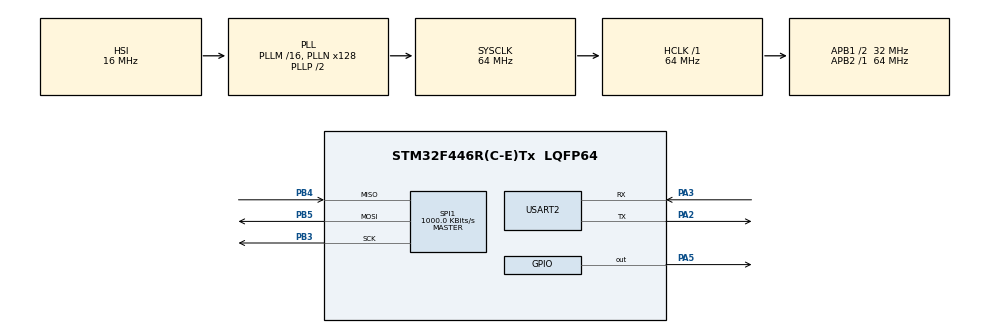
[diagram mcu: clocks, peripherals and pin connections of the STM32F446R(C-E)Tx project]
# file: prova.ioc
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Mcu.Family=STM32F4
Mcu.Name=STM32F446R(C-E)Tx
Mcu.Package=LQFP64
NVIC.PriorityGroup=NVIC_PRIORITYGROUP_4
PA2.Mode=Asynchronous
PA2.Signal=USART2_TX
PA3.Mode=Asynchronous
PA3.Signal=USART2_RX
PA5.Signal=GPIO_Output
PB3.Mode=Full_Duplex_Master
PB3.Signal=SPI1_SCK
PB4.Mode=Full_Duplex_Master
PB4.Signal=SPI1_MISO
PB5.Mode=Full_Duplex_Master
PB5.Signal=SPI1_MOSI
ProjectManager.HeapSize=0x200
ProjectManager.StackSize=0x400
ProjectManager.TargetToolchain=SW4STM32
RCC.AHBFreq_Value=64000000
RCC.APB1CLKDivider=RCC_HCLK_DIV2
RCC.APB1Freq_Value=32000000
RCC.APB1TimFreq_Value=64000000
RCC.APB2Freq_Value=64000000
RCC.APB2TimFreq_Value=64000000
RCC.CortexFreq_Value=64000000
RCC.HCLKFreq_Value=64000000
RCC.PLLN=128
RCC.SYSCLKFreq_VALUE=64000000
RCC.SYSCLKSource=RCC_SYSCLKSOURCE_PLLCLK
RCC.USBFreq_Value=64000000
RCC.VCOOutputFreq_Value=128000000
SPI1.BaudRatePrescaler=SPI_BAUDRATEPRESCALER_64
SPI1.CalculateBaudRate=1000.0 KBits/s
SPI1.Direction=SPI_DIRECTION_2LINES
SPI1.Mode=SPI_MODE_MASTER
SPI1.VirtualType=VM_MASTER
USART2.VirtualMode=VM_ASYNC
board=custom

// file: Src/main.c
/**
  ******************************************************************************
  * @file           : main.c
  * @brief          : Main program body
  ******************************************************************************
  ** This notice applies to any and all portions of this file
  * that are not between comment pairs USER CODE BEGIN and
  * USER CODE END. Other portions of this file, whether
  * inserted by the user or by software development tools
  * are owned by their respective copyright owners.
  *
  * COPYRIGHT(c) 2018 STMicroelectronics
  *
  * Redistribution and use in source and binary forms, with or without modification,
  * are permitted provided that the following conditions are met:
  *   1. Redistributions of source code must retain the above copyright notice,
  *      this list of conditions and the following disclaimer.
  *   2. Redistributions in binary form must reproduce the above copyright notice,
  *      this list of conditions and the following disclaimer in the documentation
  *      and/or other materials provided with the distribution.
  *   3. Neither the name of STMicroelectronics nor the names of its contributors
  *      may be used to endorse or promote products derived from this software
  *      without specific prior written permission.
  *
  * THIS SOFTWARE IS PROVIDED BY THE COPYRIGHT HOLDERS AND CONTRIBUTORS "AS IS"
  * AND ANY EXPRESS OR IMPLIED WARRANTIES, INCLUDING, BUT NOT LIMITED TO, THE
  * IMPLIED WARRANTIES OF MERCHANTABILITY AND FITNESS FOR A PARTICULAR PURPOSE ARE
  * DISCLAIMED. IN NO EVENT SHALL THE COPYRIGHT HOLDER OR CONTRIBUTORS BE LIABLE
  * FOR ANY DIRECT, INDIRECT, INCIDENTAL, SPECIAL, EXEMPLARY, OR CONSEQUENTIAL
  * DAMAGES (INCLUDING, BUT NOT LIMITED TO, PROCUREMENT OF SUBSTITUTE GOODS OR
  * SERVICES; LOSS OF USE, DATA, OR PROFITS; OR BUSINESS INTERRUPTION) HOWEVER
  * CAUSED AND ON ANY THEORY OF LIABILITY, WHETHER IN CONTRACT, STRICT LIABILITY,
  * OR TORT (INCLUDING NEGLIGENCE OR OTHERWISE) ARISING IN ANY WAY OUT OF THE USE
  * OF THIS SOFTWARE, EVEN IF ADVISED OF THE POSSIBILITY OF SUCH DAMAGE.
  *
  ******************************************************************************
  */
#include "main.h"
#include "stm32f4xx_hal.h"

/* USER CODE BEGIN Includes */
#include "ltc68xx.h"
#include "string.h"
/* USER CODE END Includes */

SPI_HandleTypeDef hspi1;

UART_HandleTypeDef huart2;

/* USER CODE BEGIN PV */
/* Private variables ---------------------------------------------------------*/
uint16_t cell_voltages[108][2];
uint16_t cell_temperatures[108][2];
uint16_t aux_codes[5];
uint8_t TOT_IC=12;
/* USER CODE END PV */

void SystemClock_Config(void);
static void MX_GPIO_Init(void);
static void MX_SPI1_Init(void);
static void MX_USART2_UART_Init(void);

/* USER CODE BEGIN PFP */
/* Private function prototypes -----------------------------------------------*/

/* USER CODE END PFP */

/* USER CODE BEGIN 0 */
void print(char * text_print_function);
/* USER CODE END 0 */

int main(void)
{

  /* MCU Configuration----------------------------------------------------------*/

  /* Reset of all peripherals, Initializes the Flash interface and the Systick. */
  HAL_Init();

  /* Configure the system clock */
  SystemClock_Config();

  /* Initialize all configured peripherals */
  MX_GPIO_Init();
  MX_SPI1_Init();
  MX_USART2_UART_Init();
  /* USER CODE BEGIN 2 */
 char arr[3];
 uint16_t voltages[9];
  /* USER CODE END 2 */

  /* Infinite loop */
  /* USER CODE BEGIN WHILE */
  while (1)
  {
	 // print("ciao");

	  //Voltages
	   ltc6804_adcv(0, &hspi1);
	   HAL_Delay(10);

	   for(uint8_t current_ic = 0; current_ic < TOT_IC; current_ic++){
	  	  ltc6804_rdcv_voltages(current_ic, cell_voltages, &hspi1);

	 char num[2];
	 	 		 	 	sprintf(num, "\r\n");
	 	 		 	 	HAL_UART_Transmit(&huart2, &num, strlen(num), 100);
	 	 		 	 	 for(int i = 0; i < 9; i++){
	 	 		 	 		 char v[32];
	 	 		 	 		 sprintf(v, "%d - ",cell_voltages[i][0]);
	 	 		 	 		 HAL_UART_Transmit(&huart2, &v, strlen(v), 100);
	 	 		 	 		HAL_Delay(1000);
	 	 		 	 		 cell_voltages[i][0] = cell_voltages[i][0]*0.0001f;

//	   for(int i=0;i<108;i++){
//		 sprintf(arr,"%d",cell_voltages[i][0]);
//		 print(arr);
//	   }
  }

	   HAL_Delay(10);

	   for(uint8_t current_ic = 0; current_ic < TOT_IC; current_ic++)
	 	  ltc6804_rdcv_temp(current_ic, 1, cell_temperatures, &hspi1);
	   ltc6804_command_temperatures(0, 0, &hspi1);

//	   //Cells 90 and 91 not working
//	   cell_voltages[90][0] = (cell_voltages[89][0] + cell_voltages[88][0]) / 2;
//	   cell_voltages[91][0] = (cell_voltages[92][0] + cell_voltages[93][0]) / 2;
//	   cell_voltages[90][1] = 0;
//	   cell_voltages[91][1] = 0;
//	   cell_temperatures[90][0] = (cell_temperatures[89][0] + cell_temperatures[88][0]) / 2;
//	   cell_temperatures[91][0] = (cell_temperatures[92][0] + cell_temperatures[93][0]) / 2;
//	   cell_temperatures[90][1] = 0;
//	   cell_temperatures[91][1] = 0;
//
//	   ltc6804_adax(&hspi1);
//	   HAL_Delay(10);
//	   ltc6804_rdauxA(0,  aux_codes[5],hspi1);
//	   char num[2];
//	   HAL_UART_Transmit(&huart2, &num, strlen(num), 100);
//	   	 	 		 	 	 for(int i = 0; i < 5; i++){
//	   	 	 		 	 		 char v[32];
//	   	 	 		 	 		 sprintf(v, "%d - ",aux_codes[i]);
//	   	 	 		 	 		 HAL_UART_Transmit(&huart2, &v, strlen(v), 100);
//	   	 	 		 	 	aux_codes[i] = aux_codes[i]*0.0001f;
//	   	 	 		 	  	 }

  /* USER CODE END WHILE */

  }
  }
}

void SystemClock_Config(void)
{

  RCC_OscInitTypeDef RCC_OscInitStruct;
  RCC_ClkInitTypeDef RCC_ClkInitStruct;

    /**Configure the main internal regulator output voltage
    */
  __HAL_RCC_PWR_CLK_ENABLE();

  __HAL_PWR_VOLTAGESCALING_CONFIG(PWR_REGULATOR_VOLTAGE_SCALE3);

    /**Initializes the CPU, AHB and APB busses clocks
    */
  RCC_OscInitStruct.OscillatorType = RCC_OSCILLATORTYPE_HSI;
  RCC_OscInitStruct.HSIState = RCC_HSI_ON;
  RCC_OscInitStruct.HSICalibrationValue = 16;
  RCC_OscInitStruct.PLL.PLLState = RCC_PLL_ON;
  RCC_OscInitStruct.PLL.PLLSource = RCC_PLLSOURCE_HSI;
  RCC_OscInitStruct.PLL.PLLM = 16;
  RCC_OscInitStruct.PLL.PLLN = 128;
  RCC_OscInitStruct.PLL.PLLP = RCC_PLLP_DIV2;
  RCC_OscInitStruct.PLL.PLLQ = 2;
  RCC_OscInitStruct.PLL.PLLR = 2;
  if (HAL_RCC_OscConfig(&RCC_OscInitStruct) != HAL_OK)
  {
    _Error_Handler(__FILE__, __LINE__);
  }

    /**Initializes the CPU, AHB and APB busses clocks
    */
  RCC_ClkInitStruct.ClockType = RCC_CLOCKTYPE_HCLK|RCC_CLOCKTYPE_SYSCLK
                              |RCC_CLOCKTYPE_PCLK1|RCC_CLOCKTYPE_PCLK2;
  RCC_ClkInitStruct.SYSCLKSource = RCC_SYSCLKSOURCE_PLLCLK;
  RCC_ClkInitStruct.AHBCLKDivider = RCC_SYSCLK_DIV1;
  RCC_ClkInitStruct.APB1CLKDivider = RCC_HCLK_DIV2;
  RCC_ClkInitStruct.APB2CLKDivider = RCC_HCLK_DIV1;

  if (HAL_RCC_ClockConfig(&RCC_ClkInitStruct, FLASH_LATENCY_2) != HAL_OK)
  {
    _Error_Handler(__FILE__, __LINE__);
  }

    /**Configure the Systick interrupt time
    */
  HAL_SYSTICK_Config(HAL_RCC_GetHCLKFreq()/1000);

    /**Configure the Systick
    */
  HAL_SYSTICK_CLKSourceConfig(SYSTICK_CLKSOURCE_HCLK);

  /* SysTick_IRQn interrupt configuration */
  HAL_NVIC_SetPriority(SysTick_IRQn, 0, 0);
}

/* SPI1 init function */
static void MX_SPI1_Init(void)
{

  /* SPI1 parameter configuration*/
  hspi1.Instance = SPI1;
  hspi1.Init.Mode = SPI_MODE_MASTER;
  hspi1.Init.Direction = SPI_DIRECTION_2LINES;
  hspi1.Init.DataSize = SPI_DATASIZE_8BIT;
  hspi1.Init.CLKPolarity = SPI_POLARITY_LOW;
  hspi1.Init.CLKPhase = SPI_PHASE_1EDGE;
  hspi1.Init.NSS = SPI_NSS_SOFT;
  hspi1.Init.BaudRatePrescaler = SPI_BAUDRATEPRESCALER_2;
  hspi1.Init.FirstBit = SPI_FIRSTBIT_MSB;
  hspi1.Init.TIMode = SPI_TIMODE_DISABLE;
  hspi1.Init.CRCCalculation = SPI_CRCCALCULATION_DISABLE;
  hspi1.Init.CRCPolynomial = 10;
  if (HAL_SPI_Init(&hspi1) != HAL_OK)
  {
    _Error_Handler(__FILE__, __LINE__);
  }

}

/* USART2 init function */
static void MX_USART2_UART_Init(void)
{

  huart2.Instance = USART2;
  huart2.Init.BaudRate = 115200;
  huart2.Init.WordLength = UART_WORDLENGTH_8B;
  huart2.Init.StopBits = UART_STOPBITS_1;
  huart2.Init.Parity = UART_PARITY_NONE;
  huart2.Init.Mode = UART_MODE_TX_RX;
  huart2.Init.HwFlowCtl = UART_HWCONTROL_NONE;
  huart2.Init.OverSampling = UART_OVERSAMPLING_16;
  if (HAL_UART_Init(&huart2) != HAL_OK)
  {
    _Error_Handler(__FILE__, __LINE__);
  }

}

/** Configure pins as
        * Analog
        * Input
        * Output
        * EVENT_OUT
        * EXTI
*/
static void MX_GPIO_Init(void)
{

  GPIO_InitTypeDef GPIO_InitStruct;

  /* GPIO Ports Clock Enable */
  __HAL_RCC_GPIOA_CLK_ENABLE();
  __HAL_RCC_GPIOB_CLK_ENABLE();

  /*Configure GPIO pin Output Level */
  HAL_GPIO_WritePin(GPIOA, GPIO_PIN_5, GPIO_PIN_RESET);

  /*Configure GPIO pin : PA5 */
  GPIO_InitStruct.Pin = GPIO_PIN_5;
  GPIO_InitStruct.Mode = GPIO_MODE_OUTPUT_PP;
  GPIO_InitStruct.Pull = GPIO_NOPULL;
  GPIO_InitStruct.Speed = GPIO_SPEED_FREQ_LOW;
  HAL_GPIO_Init(GPIOA, &GPIO_InitStruct);

}

/* USER CODE BEGIN 4 */
void print(char * text_print_function){

 HAL_UART_Transmit(&huart2, (uint8_t*)text_print_function, strlen(text_print_function), 5);
 HAL_UART_Transmit(&huart2, (uint8_t*)"\r\n", 2, 1);

}
/* USER CODE END 4 */

void _Error_Handler(char *file, int line)
{
  while(1)
  {
  }
}

/************************ (C) COPYRIGHT STMicroelectronics *****END OF FILE****/
